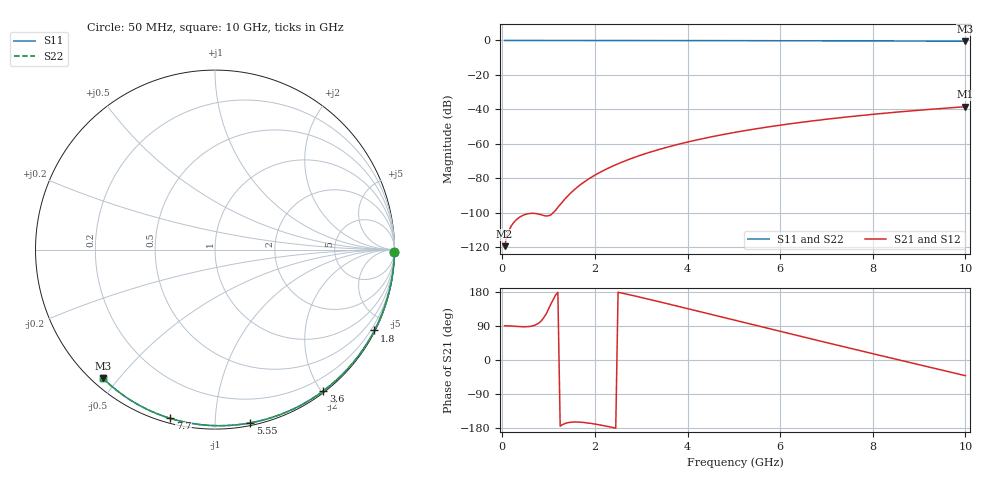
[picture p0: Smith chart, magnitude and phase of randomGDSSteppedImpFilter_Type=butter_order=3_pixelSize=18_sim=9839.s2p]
! freq	dB(S11)	phase(S11)	dB(S12)	phase(S12)
!  dB(S21)	phase(S21)	dB(S22)	phase(S22)
!S-par simulation data
#  GHz  S  DB  R 50
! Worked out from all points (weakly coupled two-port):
!   200 points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, 50 MHz to 10 GHz, reference 50 ohm
!   highest |S21| = -38.41 dB at 10 GHz (marker M1); lowest = -119.2 dB at 50 MHz (marker M2)
!   lowest |S11| = -0.4 dB at 10 GHz (marker M3), VSWR 38.99, Z = 1.55 - j22.7 ohm
!   |S11| at or under -10 dB: nowhere
!   |S22| runs from -0.4 to 0.0 dB; largest |S21 - S12| = 0
!   S11 on the Smith chart (normalised r, x): 50 MHz: open; 1.8 GHz: 0.04, -4.18; 3.6 GHz: 0.02, -2.02; 5.55 GHz: 0.02, -1.22; 7.7 GHz: 0.02, -0.77; 10 GHz: 0.03, -0.45
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0.05  -0.00 -0.8  -119.25 90.2  -119.25 90.2  -0.00 -0.8
0.9  -0.02 -13.6  -101.52 112.6  -101.52 112.6  -0.02 -13.6
1.75  -0.03 -26.1  -82.38 -164.8  -82.38 -164.8  -0.03 -26.1
1.8  -0.03 -26.9  -81.44 -165.5  -81.44 -165.5  -0.03 -26.9
1.85  -0.04 -27.6  -80.55 -166.2  -80.55 -166.2  -0.04 -27.6
1.9  -0.04 -28.3  -79.70 -167.1  -79.70 -167.1  -0.04 -28.3
2.05  -0.04 -30.5  -77.32 -170.1  -77.32 -170.1  -0.04 -30.5
2.25  -0.04 -33.4  -74.52 -174.7  -74.52 -174.7  -0.04 -33.4
2.45  -0.05 -36.3  -72.04 -179.8  -72.04 -179.8  -0.05 -36.3
2.65  -0.05 -39.2  -69.82 174.9  -69.82 174.9  -0.05 -39.2
3  -0.06 -44.2  -66.41 165.0  -66.41 165.0  -0.06 -44.2
3.4  -0.07 -49.8  -63.07 153.4  -63.07 153.4  -0.07 -49.8
3.6  -0.07 -52.6  -61.58 147.5  -61.58 147.5  -0.07 -52.6
4.3  -0.09 -62.1  -57.07 126.6  -57.07 126.6  -0.09 -62.1
5.05  -0.11 -72.1  -53.14 104.1  -53.14 104.1  -0.11 -72.1
5.55  -0.13 -78.5  -50.91 89.1  -50.91 89.1  -0.13 -78.5
6.1  -0.15 -85.5  -48.73 72.7  -48.73 72.7  -0.15 -85.5
6.7  -0.18 -92.9  -46.63 54.8  -46.63 54.8  -0.18 -92.9
7.7  -0.24 -104.9  -43.63 25.4  -43.63 25.4  -0.24 -104.9
8.35  -0.29 -112.4  -41.95 6.5  -41.95 6.5  -0.29 -112.4
9.15  -0.36 -121.6  -40.12 -16.7  -40.12 -16.7  -0.36 -121.6
10  -0.45 -131.2  -38.41 -41.4  -38.41 -41.4  -0.45 -131.2
